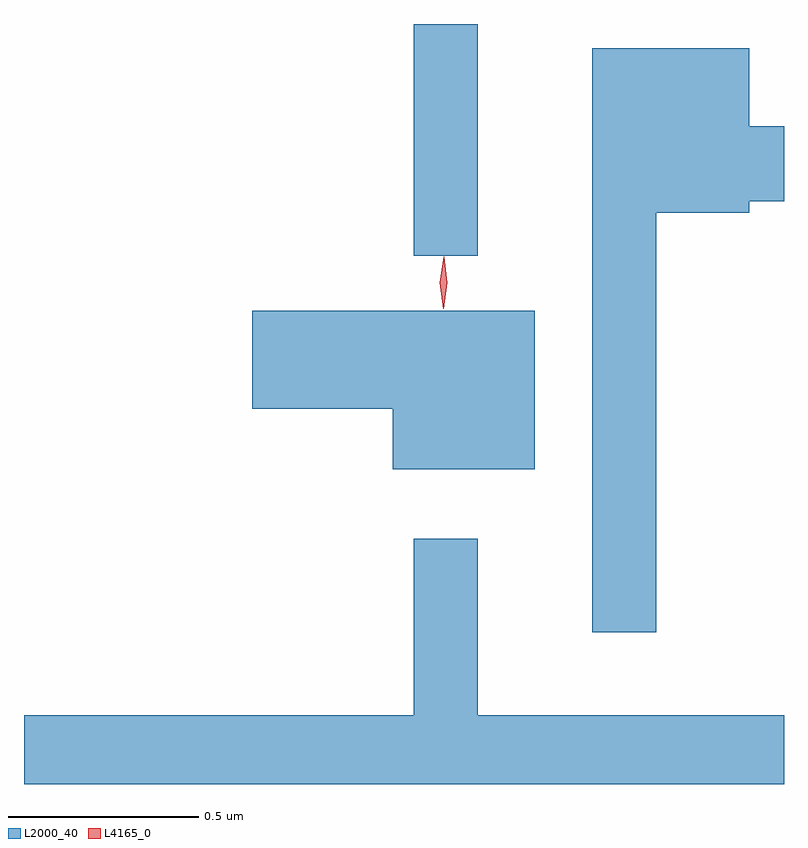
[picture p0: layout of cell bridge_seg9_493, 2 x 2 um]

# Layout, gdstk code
import gdstk
lib = gdstk.Library(unit=1e-6, precision=1e-09)
def R(c, l, rs):  # rectangles x0, y0, x1, y1
    for r in rs: c.add(gdstk.rectangle(r[:2], r[2:], *l))
def P(c, l, *ps):  # polygons
    for p in ps: c.add(gdstk.Polygon(p, *l))
L2000_40 = (2000, 40)
L4165_0 = (4165, 0)

bridge_seg9_493 = lib.new_cell('bridge_seg9_493')
R(bridge_seg9_493, L2000_40, [(576.101,2002.173,576.269,2002.783)])
P(bridge_seg9_493, L2000_40, [(576.739,2002.286),(576.984,2002.286),(576.984,2002.316),(577.075,2002.316),(577.075,2002.514),(576.984,2002.514),(576.984,2002.719),(576.571,2002.719),(576.571,2001.183),(576.739,2001.183)],
  [(576.419,2002.029),(575.676,2002.029),(575.676,2001.771),(576.046,2001.771),(576.046,2001.611),(576.419,2001.611)],
  [(577.075,2000.964),(576.269,2000.964),(576.269,2001.428),(576.101,2001.428),(576.101,2000.964),(575.075,2000.964),(575.075,2000.783),(577.075,2000.783)])
P(bridge_seg9_493, L4165_0, [(576.178,2002.034),(576.178,2002.034),(576.169,2002.102),(576.18,2002.17),(576.18,2002.17),(576.181,2002.17),(576.189,2002.102),(576.179,2002.034)],
  [(576.178,2002.04),(576.178,2002.041),(576.169,2002.104),(576.179,2002.166),(576.18,2002.167),(576.18,2002.166),(576.189,2002.103),(576.178,2002.041)])

lib.write_gds('bridge_seg9_493.gds')
